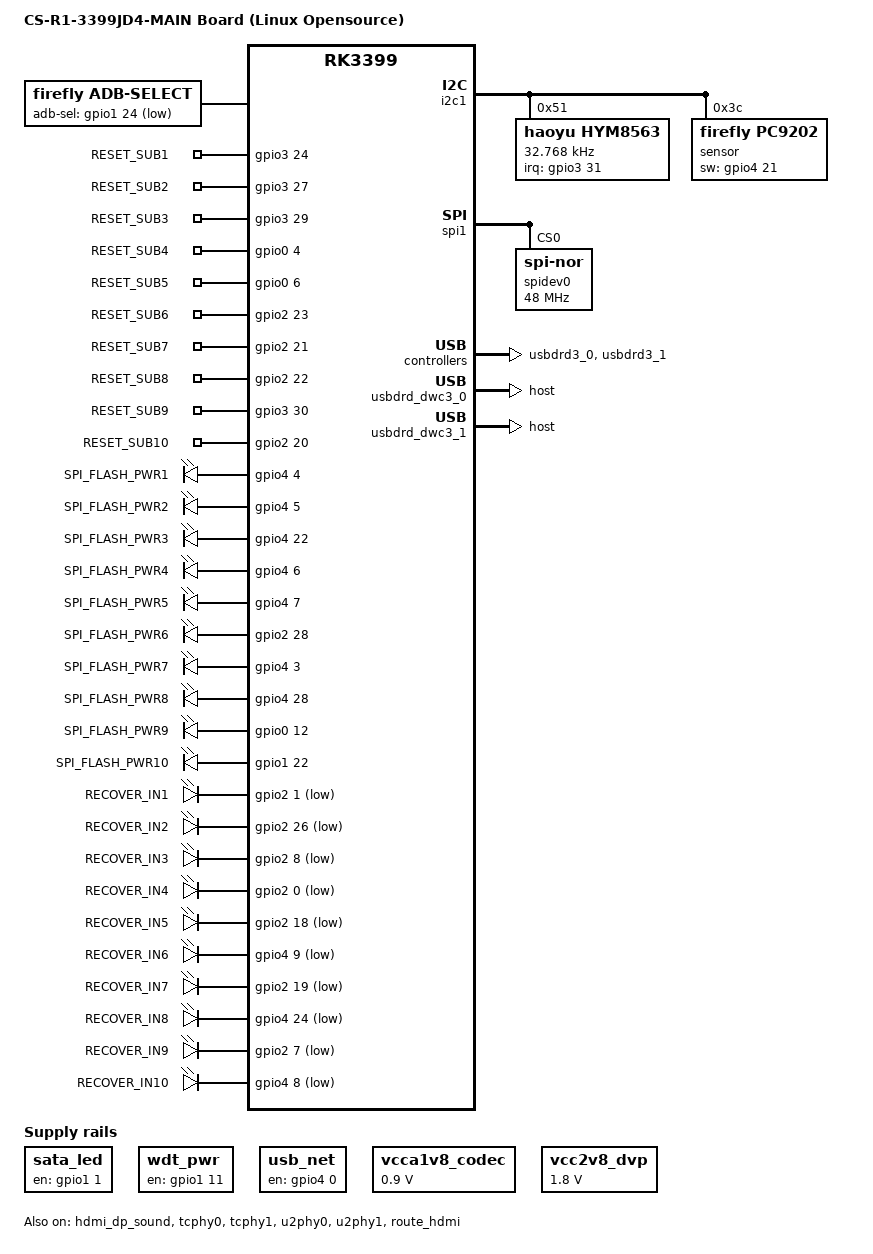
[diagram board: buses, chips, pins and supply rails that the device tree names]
/dts-v1/;

#include "rk3399-firefly-port.dtsi"
#include <dt-bindings/sensor-dev.h>

/ {
	model = "CS-R1-3399JD4-MAIN Board (Linux Opensource)";
	compatible = "rockchip,rk3399-firefly", "rockchip,rk3399";

	/delete-node/ gpio-keys;
	/delete-node/ wireless-wlan;
	/delete-node/ wireless-bluetooth;
	test-power {
		status = "okay";
	};

	adb-select {
		status = "okay";
		compatible = "firefly,adb-select";
		adb-sel-gpio = <&gpio1 24 GPIO_ACTIVE_LOW>;
		pinctrl-names = "default";
		pinctrl-0 = <&adb_sel>;
	};

	sata_led: sata-led {
		 compatible = "regulator-fixed";
		 enable-active-high;
		 gpio = <&gpio1 1 GPIO_ACTIVE_HIGH>;
		 pinctrl-names = "default";
		 pinctrl-0 = <&sata_sel>;
		 regulator-name = "sata_led";
		 regulator-always-on;
		 status = "okay";

	 };

	wdt_pwr: wdt-pwr {
		compatible = "regulator-fixed";
		enable-active-high;
		gpio = <&gpio1 11 GPIO_ACTIVE_HIGH>;
		pinctrl-names = "default";
		pinctrl-0 = <&wdt_pwr_pin>;
		regulator-name = "wdt_pwr";
		regulator-always-on;
		status = "okay";
	};

	usb_net: usb-net {
		compatible = "regulator-fixed";
		enable-active-high;
		gpio = <&gpio4 0 GPIO_ACTIVE_HIGH>;
		pinctrl-names = "default";
		pinctrl-0 = <&usb_net_ctl>;
		regulator-name = "usb_net";
		regulator-always-on;
		status = "okay";
	};

	leds {
		compatible = "gpio-leds";

		//子板的reset脚，写0会reset子板
		RESET_SUB1 {
			gpios = <&gpio3 24 GPIO_ACTIVE_HIGH>;	//GPIO3_D0 96+24
			default-state = "off";
		};

		RESET_SUB2 {
			gpios = <&gpio3 27 GPIO_ACTIVE_HIGH>;	//GPIO3_D3 96+24+3
			default-state = "off";
		};

		RESET_SUB3 {
			gpios = <&gpio3 29 GPIO_ACTIVE_HIGH>;	//GPIO3_D5 96+24+5
			default-state = "off";
		};

		RESET_SUB4 {
			gpios = <&gpio0 4 GPIO_ACTIVE_HIGH>;	//GPIO0_A4 0+4
			default-state = "off";
		};

		RESET_SUB5 {
			gpios = <&gpio0 6 GPIO_ACTIVE_HIGH>;	//GPIO0_A6 0+6
			default-state = "off";
		};

		RESET_SUB6 {
			gpios = <&gpio2 23 GPIO_ACTIVE_HIGH>;	//GPIO2_C7 32*2+16+7
			default-state = "off";
		};

		RESET_SUB7 {
			gpios = <&gpio2 21 GPIO_ACTIVE_HIGH>;	//GPIO2_C5 32*2+16+5
			default-state = "off";
		};

		RESET_SUB8 {
			gpios = <&gpio2 22 GPIO_ACTIVE_HIGH>;	//GPIO2_C6 32*2+16+6
			default-state = "off";
		};

		RESET_SUB9 {
			gpios = <&gpio3 30 GPIO_ACTIVE_HIGH>;	//GPIO3_D6 32*2+24+6
			default-state = "off";
		};

		RESET_SUB10 {
			gpios = <&gpio2 20 GPIO_ACTIVE_HIGH>;	//GPIO2_C4 32*2+16+4
			default-state = "off";
		};

		//SPI FLASH的电源脚
		SPI_FLASH_PWR1 {
			gpios = <&gpio4 4 GPIO_ACTIVE_HIGH>;	//SPI_FLASH_PWR1 GPIO4_A4	128+4		=132
			default-state = "off";
		};

		SPI_FLASH_PWR2 {
			gpios = <&gpio4 5 GPIO_ACTIVE_HIGH>;	//SPI_FLASH_PWR2 GPIO4_A5	128+5		=133
			default-state = "off";
		};

		SPI_FLASH_PWR3 {
			gpios = <&gpio4 22 GPIO_ACTIVE_HIGH>;	//SPI_FLASH_PWR3 GPIO4_C6	128+16+6		=150
			default-state = "off";
		};

		SPI_FLASH_PWR4 {
			gpios = <&gpio4 6 GPIO_ACTIVE_HIGH>;	//SPI_FLASH_PWR4 GPIO4_A6	128+6		=134
			default-state = "off";
		};

		SPI_FLASH_PWR5 {
			gpios = <&gpio4 7 GPIO_ACTIVE_HIGH>;	//SPI_FLASH_PWR5 GPIO4_A7	128+7		=135
			default-state = "off";
		};

		SPI_FLASH_PWR6 {
			gpios = <&gpio2 28 GPIO_ACTIVE_HIGH>;	//SPI_FLASH_PWR6 GPIO2_D4	64+24+4		=92
			default-state = "off";
		};

		SPI_FLASH_PWR7 {
			gpios = <&gpio4 3 GPIO_ACTIVE_HIGH>;	//SPI_FLASH_PWR7 GPIO4_A3	128+3		=131
			default-state = "off";
		};

		SPI_FLASH_PWR8 {
			gpios = <&gpio4 28 GPIO_ACTIVE_HIGH>;	//SPI_FLASH_PWR8 GPIO4_D4	128+24+4	=156
			default-state = "off";
		};

		SPI_FLASH_PWR9 {
			gpios = <&gpio0 12 GPIO_ACTIVE_HIGH>;	//SPI_FLASH_PWR9 GPIO0_B4	0+8+4		=12
			default-state = "off";
		};

		SPI_FLASH_PWR10 {
			gpios = <&gpio1 22 GPIO_ACTIVE_HIGH>;	//SPI_FLASH_PWR10 GPIO1_C6	32+16+6		=54
			default-state = "off";
		};

		//子板的Recovery 按键

		RECOVER_IN1 {
			gpios = <&gpio2 1 GPIO_ACTIVE_LOW>;	//RECOVER_IN1		GPIO2_A1	64+1		=65
			default-state = "off";
		};

		RECOVER_IN2 {
			gpios = <&gpio2 26 GPIO_ACTIVE_LOW>;	//RECOVER_IN2		GPIO2_D2	64+24+2		=90
			default-state = "off";
		};

		RECOVER_IN3 {
			gpios = <&gpio2 8 GPIO_ACTIVE_LOW>;	//RECOVER_IN3		GPIO2_B0	64+8		=72
			default-state = "off";
		};

		RECOVER_IN4 {
			gpios = <&gpio2 0 GPIO_ACTIVE_LOW>;	//RECOVER_IN4		GPIO2_A0	64+0		=64
			default-state = "off";
		};

		RECOVER_IN5 {
			gpios = <&gpio2 18 GPIO_ACTIVE_LOW>;	//RECOVER_IN5		GPIO2_C2	64+18		=82
			default-state = "off";
		};

		RECOVER_IN6 {
			gpios = <&gpio4 9 GPIO_ACTIVE_LOW>;	//RECOVER_IN6		GPIO4_B1	128+8+1		=137
			default-state = "off";
		};

		RECOVER_IN7 {
			gpios = <&gpio2 19 GPIO_ACTIVE_LOW>;	//RECOVER_IN7		GPIO2_C3	64+16+3		=83
			default-state = "off";
		};

		RECOVER_IN8 {
			gpios = <&gpio4 24 GPIO_ACTIVE_LOW>;	//RECOVER_IN8		GPIO4_D0	128+24+0	=152
			default-state = "off";
		};

		RECOVER_IN9 {
			gpios = <&gpio2 7 GPIO_ACTIVE_LOW>;	//RECOVER_IN9		GPIO2_A7	64+7		=71
			default-state = "off";
		};

		RECOVER_IN10 {
			gpios = <&gpio4 8 GPIO_ACTIVE_LOW>;	//RECOVER_IN10	GPIO4_B0	128+8		=136
			default-state = "off";
		};
	};

};

&pwm3 {
	status = "disabled";
};

&sdio0 {
	status = "disabled";
};

&sdio_pwrseq {
	status = "disabled";
};

&i2s0 {
	status = "disabled";
};

&i2s1 {
	status = "disabled";
};

&sdmmc {
	status = "disabled";
};

&rt5640 {
	status = "disabled";
};

/* rtc */
&rk808{
	/delete-property/ pmic,stby-gpio;
	/delete-property/ rockchip,system-power-controller;
	/delete-property/ pmic,hold-gpio;
	pinctrl-0 = <&pmic_int_l &pmic_dvs2 &pmic_hold>;
	rtc {
		status = "disabled";
	};
};

//pcie0 reset port
&pcie0 {
	ep-gpios = <&gpio1 4 GPIO_ACTIVE_HIGH>;
	/delete-property/pinctrl-names;
	/delete-property/pinctrl-0;
	max-link-speed = <2>;
};

&i2c4 {
	status = "disabled";
};

&i2c1 {
	status = "okay";
	hym8563: hym8563@51 {
		compatible = "haoyu,hym8563";
		reg = <0x51>;
		interrupt-parent = <&gpio3>;
		interrupts = <31 IRQ_TYPE_EDGE_FALLING>;
		pinctrl-names = "default";
		pinctrl-0 = <&rtc_int>;
		#clock-cells = <0>;
		clock-frequency = <32768>;
		clock-output-names = "xin32k";
	};



	sensor@3c {
		 status = "okay";
		 compatible = "firefly,pc9202";
		 sw-gpio = <&gpio4 21 GPIO_ACTIVE_HIGH>;
	         pinctrl-names = "default";
	         pinctrl-0 = <&wdt_ctl>;
		 reg = <0x3c>;
	};

};

/* Usb 5v */

&vcc5v0_host {
	gpio = <&gpio1 23 GPIO_ACTIVE_HIGH>;
};

&host_vbus_drv {
	rockchip,pins = <1 23 RK_FUNC_GPIO &pcfg_pull_none>;
};

/* Mini pcie 4G */

&vcc3v3_3g {
	gpio = <&gpio3 28 GPIO_ACTIVE_HIGH>;
};

&pcie_3g_drv {
	rockchip,pins = <3 28 RK_FUNC_GPIO &pcfg_pull_up>;
};

&spi1 {
	status = "okay";
	max-freq = <48000000>;
	dev-port = <0>;

	spidev0: spidev@00 {
		status = "okay";
		//compatible = "linux,spidev";
		compatible = "jedec,spi-nor";
		reg = <0x00>;
		spi-max-frequency = <48000000>;
	};
/*
       spi_demo: spi-demo@00{
              status = "okay";
              compatible = "firefly,rk3399-spi";
              reg = <0x00>;
              spi-max-frequency = <48000000>;
*/
/* rk3399 driver support SPI_CPOL | SPI_CPHA | SPI_CS_HIGH */
              //spi-cpha;             /* SPI mode: CPHA=1 */
              //spi-cpol;     /* SPI mode: CPOL=1 */
              //spi-cs-high;
//      };
};


&gmac {
	tx_delay = <0x2c>;
	rx_delay = <0x28>;
};

&hdmi_dp_sound {
	status = "okay";
};

&i2c2 {
	status = "disabled";
	i2c-scl-rising-time-ns = <300>;
	i2c-scl-falling-time-ns = <15>;
};

&vcca1v8_codec {
	regulator-min-microvolt = <900000>;
	regulator-max-microvolt = <900000>;
};




&vcc3v3_pcie {
	/delete-property/ gpio;
};



&uart4 {
    status = "disabled";
};

&dp_in_vopb {
	status = "disabled";
};

&hdmi_in_vopl {
	status = "disabled";
};

&wdt {
	status = "disabled";
};

&io_domains {
	bt656-supply = <&vcc_3v0>;
};

&vcc2v8_dvp {
	regulator-min-microvolt = <1800000>;
	regulator-max-microvolt = <1800000>;
};

&vcca1v8_codec {
	regulator-min-microvolt = <900000>;
	regulator-max-microvolt = <900000>;
};


&fusb0 {
    status = "disabled";
};

&cdn_dp {
    status = "disabled";
};

&tcphy0 {
    /delete-property/ extcon;
    status = "okay";
};

&tcphy1 {
    /delete-property/ extcon;
    status = "okay";
};

&u2phy0 {
    status = "okay";
    /delete-property/ extcon;

    u2phy0_otg: otg-port {
        status = "okay";
    };
};

&u2phy1 {
    status = "okay";
    /delete-property/ extcon;

    u2phy1_otg: otg-port {
	firefly,vbus-no-det; //set typec peripheral mode when det pin not connect
        status = "okay";
    };
};

&usbdrd3_0 {
    status = "okay";
    /delete-property/ extcon;
};

&usbdrd_dwc3_0 {
    dr_mode = "host";
};

&usbdrd3_1 {
    status = "okay";
};

&usbdrd_dwc3_1 {
    dr_mode = "host";
    status = "okay";
};

&route_hdmi {
	status = "okay";
};

&rk808 {
     /delete-property/ pmic,stby-gpio;
     /delete-property/ pmic,hold-gpio;
};

&pinctrl {
	hym8563 {
		rtc_int: rtc-int {
			rockchip,pins = <RK_GPIO3 31 RK_FUNC_GPIO &pcfg_pull_up>;
		};
	};

	adb {
		adb_sel: adb-sel {
			rockchip,pins = <RK_GPIO1 24 RK_FUNC_GPIO &pcfg_pull_up>;
		};
	};

	sata {
		sata_sel: sata-sel {
			rockchip,pins = <RK_GPIO1 1 RK_FUNC_GPIO &pcfg_pull_up>;
		};
	};

	wdt-pin {
       		wdt_pwr_pin: wdt-pwr-pin {
                       rockchip,pins = <RK_GPIO1 11 RK_FUNC_GPIO &pcfg_pull_up>;
                };

       		wdt_ctl: wdt-ctl {
                       rockchip,pins = <RK_GPIO4 21 RK_FUNC_GPIO &pcfg_pull_up>;
                };

       };

       usb_net_pwr {
       		usb_net_ctl: usb-net-ctl {
                       rockchip,pins = <RK_GPIO4 0 RK_FUNC_GPIO &pcfg_pull_up>;
               };
       };

};

